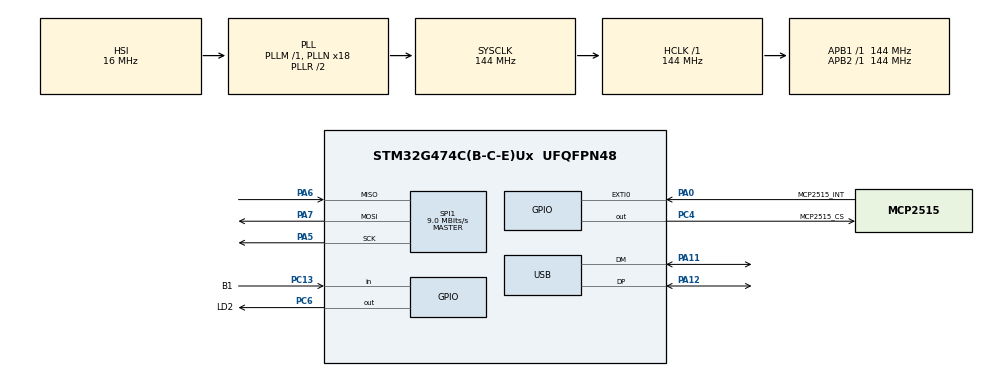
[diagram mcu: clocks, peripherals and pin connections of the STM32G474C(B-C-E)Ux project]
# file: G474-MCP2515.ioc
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HRTIM1.PrescalerRatio_TA=HRTIM_PRESCALERRATIO_DIV1
Mcu.Family=STM32G4
Mcu.Name=STM32G474C(B-C-E)Ux
Mcu.Package=UFQFPN48
NVIC.EXTI0_IRQn=true\:1\:0\:true\:false\:true\:true\:true\:true
NVIC.PriorityGroup=NVIC_PRIORITYGROUP_4
NVIC.USB_HP_IRQn=true\:0\:0\:false\:false\:true\:true\:true\:true
NVIC.USB_LP_IRQn=true\:0\:0\:false\:false\:true\:false\:true\:true
PA0.GPIO_Label=MCP2515_INT
PA0.GPIO_ModeDefaultEXTI=GPIO_MODE_IT_FALLING
PA0.GPIO_PuPd=GPIO_PULLUP
PA0.Signal=GPXTI0
PA11.Mode=Device
PA11.Signal=USB_DM
PA12.Mode=Device
PA12.Signal=USB_DP
PA5.Mode=Full_Duplex_Master
PA5.Signal=SPI1_SCK
PA6.Mode=Full_Duplex_Master
PA6.Signal=SPI1_MISO
PA7.Mode=Full_Duplex_Master
PA7.Signal=SPI1_MOSI
PC13.GPIO_Label=B1
PC13.Signal=GPIO_Input
PC4.GPIO_Label=MCP2515_CS
PC4.Signal=GPIO_Output
PC6.GPIO_Label=LD2
PC6.Signal=GPIO_Output
ProjectManager.HeapSize=0x200
ProjectManager.StackSize=0x400
ProjectManager.TargetToolchain=STM32CubeIDE
RCC.ADC12Freq_Value=144000000
RCC.ADC345Freq_Value=144000000
RCC.AHBFreq_Value=144000000
RCC.APB1Freq_Value=144000000
RCC.APB1TimFreq_Value=144000000
RCC.APB2Freq_Value=144000000
RCC.APB2TimFreq_Value=144000000
RCC.CortexFreq_Value=144000000
RCC.EXTERNAL_CLOCK_VALUE=12288000
RCC.HCLKFreq_Value=144000000
RCC.HSE_VALUE=8000000
RCC.HSI48_VALUE=48000000
RCC.HSI_VALUE=16000000
RCC.LSE_VALUE=32768
RCC.PLLN=18
RCC.PLLQ=RCC_PLLQ_DIV6
RCC.SYSCLKFreq_VALUE=144000000
RCC.SYSCLKSource=RCC_SYSCLKSOURCE_PLLCLK
RCC.USBFreq_Value=48000000
RCC.VCOOutputFreq_Value=288000000
SPI1.BaudRatePrescaler=SPI_BAUDRATEPRESCALER_16
SPI1.CRCCalculation=SPI_CRCCALCULATION_DISABLE
SPI1.CalculateBaudRate=9.0 MBits/s
SPI1.DataSize=SPI_DATASIZE_8BIT
SPI1.Direction=SPI_DIRECTION_2LINES
SPI1.Mode=SPI_MODE_MASTER
SPI1.VirtualType=VM_MASTER
USB_DEVICE.CLASS_NAME_FS=CDC
USB_DEVICE.VirtualMode=Cdc
USB_DEVICE.VirtualModeFS=Cdc_FS
VP_HRTIM1_VS_hrtimTimerANoOutput.Mode=No_output_TA
VP_SYS_VS_DBSignals.Mode=DisableDeadBatterySignals
VP_USB_DEVICE_VS_USB_DEVICE_CDC_FS.Mode=CDC_FS
board=custom

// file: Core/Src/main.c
/* USER CODE BEGIN Header */
/**
  ******************************************************************************
  * @file           : main.c
  * @brief          : Main program body
  ******************************************************************************
  * @attention
  *
  * Copyright (c) 2026 STMicroelectronics.
  * All rights reserved.
  *
  * This software is licensed under terms that can be found in the LICENSE file
  * in the root directory of this software component.
  * If no LICENSE file comes with this software, it is provided AS-IS.
  *
  ******************************************************************************
  */
/* USER CODE END Header */
#include "main.h"
#include "hrtim.h"
#include "spi.h"
#include "usb_device.h"
#include "gpio.h"

/* USER CODE BEGIN Includes */
#include "mcp2515.h"

#include "usbd_cdc_if.h"
#include <stdio.h>
#include <stdarg.h>

/* USER CODE END Includes */

/* USER CODE BEGIN PV */
mcp2515_t mcp2515;
can_frame TxFrame;
can_frame RxFrame;
uint8_t babbling_idiot_mode = 0; // 0 = Normal, 1 = Babbling Idiot
uint32_t last_ping_tick = 0;
uint8_t can_received_flag=0;

// Variáveis para latência em microssegundos
float latency_us = 0;
float last_latency = 0;
float jitter_us = 0;

// Constante de conversão baseada no seu clock (96MHz conforme imagem)
// Periodo = 1 / 96.000.000 segundos
#define TICKS_PER_US 96.0f

uint32_t t_start = 0;

/* USER CODE END PV */

void SystemClock_Config(void);

/* USER CODE BEGIN 0 */
/* Em USER CODE BEGIN 4 */
void USB_Log(const char *fmt, ...) {
    static char buf[512]; // Buffer estático para economizar pilha
    va_list args;
    va_start(args, fmt);
    int len = vsnprintf(buf, sizeof(buf), fmt, args);
    va_end(args);

    if (len > 0) {
        uint8_t result;
        uint32_t timeout = 100; // Timeout de segurança para não travar o MCU

        do {
            result = CDC_Transmit_FS((uint8_t*)buf, len);
            timeout--;
        } while (result == USBD_BUSY && timeout > 0);
    }
}
/* USER CODE END 0 */

int main(void)
{

  /* MCU Configuration--------------------------------------------------------*/

  /* Reset of all peripherals, Initializes the Flash interface and the Systick. */
  HAL_Init();

  /* Configure the system clock */
  SystemClock_Config();

  /* Initialize all configured peripherals */
  MX_GPIO_Init();
  MX_SPI1_Init();
  MX_HRTIM1_Init();
  MX_USB_Device_Init();
  /* USER CODE BEGIN 2 */
  // 1. Vincular o handle da SPI (verifique se é &hspi1 ou &hspi2 no seu CubeMX)
  mcp2515.spi_handle = &hspi1;

  // 2. Configurar os pinos (Ajuste para os nomes corretos da sua struct)
  mcp2515.cs_pin.gpio_port = MCP2515_CS_GPIO_Port;
  mcp2515.cs_pin.gpio_pin = MCP2515_CS_Pin;

  // 3. Configurar o Clock (O membro se chama 'clock', não 'osc')
  mcp2515.clock = MCP_8MHZ;

  // Agora o Setup inicial
  if (MCP_reset(&mcp2515) == ERROR_OK) {
	  MCP_setBitrate(&mcp2515, CAN_500KBPS);
      // Habilita interrupção de Transmissão (TX0IE) e Recebimento (RX0IE)
      // O valor 0x05 habilita MERRE (erro), TX0IE (transmissão) e RX0IE (recepção)
	  setRegister(&mcp2515, MCP_CANINTE, 0x05);

      MCP_setMode(&mcp2515, MODE_NORMAL);

  }

  HAL_HRTIM_WaveformCounterStart(&hhrtim1, HRTIM_TIMERID_TIMER_A);
  /* USER CODE END 2 */

  /* Infinite loop */
  /* USER CODE BEGIN WHILE */
  while (1)
  {
	  // 1. Envio do Ping (G474 -> G030)
	      if (!babbling_idiot_mode && (HAL_GetTick() - last_ping_tick > 1000)) {
	          TxFrame.can_id = 0x123;
	          TxFrame.can_dlc = 1;
	          TxFrame.data[0] = 0xAA;

	          // CAPTURA O TEMPO DE INÍCIO (Ticks do HRTIM)
	          t_start = HRTIM1->sTimerxRegs[HRTIM_TIMERINDEX_TIMER_A].CNTxR;

	          if(MCP_sendMessage(&mcp2515, &TxFrame) == ERROR_OK) {
	              last_ping_tick = HAL_GetTick();
	          }
	      }

	      // 2. Recepção do Pong (G030 -> G474)
	      if (can_received_flag) {
	          can_received_flag = 0;
	          if (MCP_readMessage(&mcp2515, &RxFrame) == ERROR_OK) {
	              if (RxFrame.can_id == 0x124) {
	                  // CAPTURA O TEMPO DE CHEGADA
	                  uint32_t t_end = HRTIM1->sTimerxRegs[HRTIM_TIMERINDEX_TIMER_A].CNTxR;

	                  // Trata o overflow do timer (16-bit)
	                  uint32_t diff = (t_end >= t_start) ? (t_end - t_start) : (0xFFFF - t_start + t_end);

	                  // CALCULA LATÊNCIA E JITTER
	                  latency_us = (float)diff / TICKS_PER_US;

	                  if (last_latency > 0) {
	                      float current_jitter = latency_us - last_latency;
	                      jitter_us = (current_jitter < 0) ? -current_jitter : current_jitter;
	                  }

	                  last_latency = latency_us;
	                  HAL_GPIO_TogglePin(LD2_GPIO_Port, LD2_Pin);
	              }
	          }
	      }

	      uint32_t tick = HAL_GetTick();
		  USB_Log("[DEBUG] Sistema rodando. Tick: %lu\r\n", tick);
		  HAL_Delay(1000);
    /* USER CODE END WHILE */

  }
}

void SystemClock_Config(void)
{
  RCC_OscInitTypeDef RCC_OscInitStruct = {0};
  RCC_ClkInitTypeDef RCC_ClkInitStruct = {0};

  /** Configure the main internal regulator output voltage
  */
  HAL_PWREx_ControlVoltageScaling(PWR_REGULATOR_VOLTAGE_SCALE1);

  /** Initializes the RCC Oscillators according to the specified parameters
  * in the RCC_OscInitTypeDef structure.
  */
  RCC_OscInitStruct.OscillatorType = RCC_OSCILLATORTYPE_HSI;
  RCC_OscInitStruct.HSIState = RCC_HSI_ON;
  RCC_OscInitStruct.HSICalibrationValue = RCC_HSICALIBRATION_DEFAULT;
  RCC_OscInitStruct.PLL.PLLState = RCC_PLL_ON;
  RCC_OscInitStruct.PLL.PLLSource = RCC_PLLSOURCE_HSI;
  RCC_OscInitStruct.PLL.PLLM = RCC_PLLM_DIV1;
  RCC_OscInitStruct.PLL.PLLN = 18;
  RCC_OscInitStruct.PLL.PLLP = RCC_PLLP_DIV2;
  RCC_OscInitStruct.PLL.PLLQ = RCC_PLLQ_DIV6;
  RCC_OscInitStruct.PLL.PLLR = RCC_PLLR_DIV2;
  if (HAL_RCC_OscConfig(&RCC_OscInitStruct) != HAL_OK)
  {
    Error_Handler();
  }

  /** Initializes the CPU, AHB and APB buses clocks
  */
  RCC_ClkInitStruct.ClockType = RCC_CLOCKTYPE_HCLK|RCC_CLOCKTYPE_SYSCLK
                              |RCC_CLOCKTYPE_PCLK1|RCC_CLOCKTYPE_PCLK2;
  RCC_ClkInitStruct.SYSCLKSource = RCC_SYSCLKSOURCE_PLLCLK;
  RCC_ClkInitStruct.AHBCLKDivider = RCC_SYSCLK_DIV1;
  RCC_ClkInitStruct.APB1CLKDivider = RCC_HCLK_DIV1;
  RCC_ClkInitStruct.APB2CLKDivider = RCC_HCLK_DIV1;

  if (HAL_RCC_ClockConfig(&RCC_ClkInitStruct, FLASH_LATENCY_4) != HAL_OK)
  {
    Error_Handler();
  }
}

/* USER CODE BEGIN 4 */
void HAL_GPIO_EXTI_Callback(uint16_t GPIO_Pin)
{
    if (GPIO_Pin == MCP2515_INT_Pin)
    {
        uint8_t irq_status = readRegister(&mcp2515, MCP_CANINTF);

        // 1. Tratamento de Recebimento (Prioridade)
        if (irq_status & 0x03) // RX0IF ou RX1IF
        {
            can_received_flag = 1;
            // IMPORTANTE: Se o loop principal demorar, o pino INT fica preso aqui.
            // Para garantir que o pino libere, desabilite RXIE temporariamente
            // ou limpe aqui se a biblioteca permitir.
        }

        // 2. Tratamento de Transmissão
        if (irq_status & 0x04) // TX0IF
        {
            modifyRegister(&mcp2515, MCP_CANINTF, 0x04, 0x00);
            if (babbling_idiot_mode) {
                TxFrame.can_id = 0x000;
                TxFrame.can_dlc = 8;
                MCP_sendMessageTo(&mcp2515, 0, &TxFrame);
            }
        }

        // 3. Limpeza de ERROS (Importante!)
        // Se houver um erro de barramento e você não limpar o flag de erro,
        // o pino INT nunca subirá novamente.
        if (irq_status & 0xA0) // MERRF ou ERRIF
        {
            modifyRegister(&mcp2515, MCP_CANINTF, 0xA0, 0x00);
        }
    }
}

/* USER CODE END 4 */

void Error_Handler(void)
{
  __disable_irq();
  while (1)
  {
  }
}
